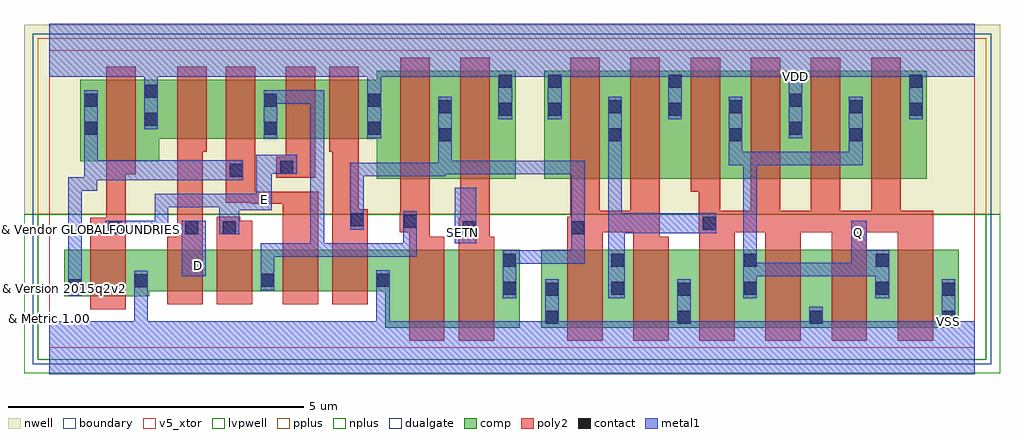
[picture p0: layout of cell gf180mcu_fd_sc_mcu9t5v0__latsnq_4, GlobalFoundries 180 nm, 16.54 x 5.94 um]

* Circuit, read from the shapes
.subckt gf180mcu_fd_sc_mcu9t5v0__latsnq_4 D E Q SETN VDD VSS
XM1 VSS E n1 VSUBS nfet_05v0 w=0.79u l=0.6u
XM2 n2 D VSS VSUBS nfet_05v0 w=0.7u l=0.6u
XM3 n3 E n2 VSUBS nfet_05v0 w=0.7u l=0.6u
XM4 n4 n1 n3 VSUBS nfet_05v0 w=0.7u l=0.6u
XM5 VSS n5 n4 VSUBS nfet_05v0 w=0.7u l=0.6u
XM6 n6 n3 VSS VSUBS nfet_05v0 w=1.32u l=0.6u
XM7 n5 SETN n6 VSUBS nfet_05v0 w=1.32u l=0.6u
XM8 n7 n5 VSS VSUBS nfet_05v0 w=1.32u l=0.6u m=2
XM9 Q n7 VSS VSUBS nfet_05v0 w=1.32u l=0.6u m=4
XM10 VDD E n1 n8 pfet_05v0 w=1.38u l=0.5u
XM11 n9 D VDD n8 pfet_05v0 w=1u l=0.5u
XM12 n3 n1 n9 n8 pfet_05v0 w=1u l=0.5u
XM13 n10 E n3 n8 pfet_05v0 w=1u l=0.5u
XM14 VDD n5 n10 n8 pfet_05v0 w=1u l=0.5u
XM15 n5 n3 VDD n8 pfet_05v0 w=1.83u l=0.5u
XM16 VDD SETN n5 n8 pfet_05v0 w=1.83u l=0.5u
XM17 n7 n5 VDD n8 pfet_05v0 w=1.83u l=0.5u m=2
XM18 Q n7 VDD n8 pfet_05v0 w=1.83u l=0.5u m=4
.ends

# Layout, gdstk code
import gdstk
lib = gdstk.Library(unit=1e-6, precision=1e-09)
def R(c, l, rs):  # rectangles x0, y0, x1, y1
    for r in rs: c.add(gdstk.rectangle(r[:2], r[2:], *l))
def A(c, l, x, y, w, h, nx, ny, dx, dy):  # array of equal rectangles
    R(c, l, [(x+i*dx, y+j*dy, x+i*dx+w, y+j*dy+h) for i in range(nx) for j in range(ny)])
def P(c, l, *ps):  # polygons
    for p in ps: c.add(gdstk.Polygon(p, *l))
boundary = (0, 0)
nwell = (21, 0)
comp = (22, 0)
poly2 = (30, 0)
pplus = (31, 0)
nplus = (32, 0)
contact = (33, 0)
metal1 = (34, 0)
dualgate = (55, 0)
v5_xtor = (112, 1)
lvpwell = (204, 0)

gf180mcu_fd_sc_mcu9t5v0_ = lib.new_cell('gf180mcu_fd_sc_mcu9t5v0__latsnq_4')
R(gf180mcu_fd_sc_mcu9t5v0_, boundary, [(0,0,15.68,5.04)])
R(gf180mcu_fd_sc_mcu9t5v0_, nwell, [(-0.43,2.265,16.11,5.47)])
R(gf180mcu_fd_sc_mcu9t5v0_, comp, [(8.335,0.34,15.415,1.66), (8.385,2.865,14.865,4.695)])
P(gf180mcu_fd_sc_mcu9t5v0_, comp, [(5.545,2.865),(5.545,3.54),(1.865,3.54),(1.865,3.16),(0.525,3.16),(0.525,4.54),(5.545,4.54),(5.545,4.695),(7.905,4.695),(7.905,2.865)],
  [(5.695,0.34),(5.695,0.96),(1.695,0.96),(1.695,0.87),(0.255,0.87),(0.255,1.66),(7.975,1.66),(7.975,0.34)])
P(gf180mcu_fd_sc_mcu9t5v0_, poly2, [(0.695,0.65),(0.695,2.205),(0.965,2.205),(0.965,4.76),(1.465,4.76),(1.465,2.94),(1.295,2.94),(1.295,0.65)],
  [(1.995,0.74),(1.995,1.88),(2.165,1.88),(2.165,4.76),(2.665,4.76),(2.665,3.32),(2.595,3.32),(2.595,0.74)],
  [(2.835,0.74),(2.835,2.215),(3.235,2.215),(3.235,2.155),(3.435,2.155),(3.435,0.74)],
  [(3.845,2.88),(3.845,3.24),(4.005,3.24),(4.005,4.76),(4.505,4.76),(4.505,2.88)],
  [(3.955,0.74),(3.955,2.44),(3.405,2.44),(3.405,2.455),(2.985,2.455),(2.985,4.76),(3.485,4.76),(3.485,2.64),(4.555,2.64),(4.555,0.74)],
  [(4.795,0.74),(4.795,3.32),(4.745,3.32),(4.745,4.76),(5.245,4.76),(5.245,2.35),(5.395,2.35),(5.395,0.74)],
  [(6.095,0.12),(6.095,1.96),(5.935,1.96),(5.935,2.29),(5.945,2.29),(5.945,4.915),(6.445,4.915),(6.445,1.88),(6.695,1.88),(6.695,0.12)],
  [(6.935,0.12),(6.935,2.205),(6.965,2.205),(6.965,4.915),(7.465,4.915),(7.465,1.88),(7.535,1.88),(7.535,0.12)],
  [(8.775,0.12),(8.775,2.215),(8.825,2.215),(8.825,4.915),(9.325,4.915),(9.325,2.32),(9.845,2.32),(9.845,4.915),(10.345,4.915),(10.345,1.88),(10.495,1.88),(10.495,0.12),(9.895,0.12),(9.895,1.96),(9.375,1.96),(9.375,0.12)],
  [(11.015,0.12),(11.015,1.96),(11.005,1.96),(11.005,2.645),(10.865,2.645),(10.865,4.915),(11.365,4.915),(11.365,2.32),(11.885,2.32),(11.885,4.915),(12.385,4.915),(12.385,2.32),(12.905,2.32),(12.905,4.915),(13.405,4.915),(13.405,2.32),(13.925,2.32),(13.925,4.915),(14.425,4.915),(14.425,2.32),(14.975,2.32),(14.975,0.12),(14.375,0.12),(14.375,1.96),(13.855,1.96),(13.855,0.12),(13.255,0.12),(13.255,1.96),(12.735,1.96),(12.735,0.12),(12.135,0.12),(12.135,1.96),(11.615,1.96),(11.615,0.12)])
R(gf180mcu_fd_sc_mcu9t5v0_, pplus, [(-0.2,2.265,15.88,5.24)])
R(gf180mcu_fd_sc_mcu9t5v0_, nplus, [(-0.2,-0.2,15.88,2.265)])
A(gf180mcu_fd_sc_mcu9t5v0_, contact, 8.405, 0.41, 0.22, 0.22, 4, 1, 2.24, 0)
A(gf180mcu_fd_sc_mcu9t5v0_, contact, 9.525, 0.9, 0.22, 0.22, 3, 2, 2.24, 0.47)
A(gf180mcu_fd_sc_mcu9t5v0_, contact, 9.475, 3.5, 0.22, 0.22, 3, 2, 2.04, 0.47)
R(gf180mcu_fd_sc_mcu9t5v0_, contact, [(8.405,0.88,8.625,1.1), (10.645,0.88,10.865,1.1), (15.125,0.88,15.345,1.1), (7.685,0.9,7.905,1.12), (0.325,0.94,0.545,1.16), (1.445,1.025,1.665,1.245), (3.585,1.03,3.805,1.25), (5.545,1.03,5.765,1.25), (7.685,1.37,7.905,1.59), (1.005,1.925,1.225,2.145), (2.305,1.925,2.525,2.145), (2.94,1.925,3.16,2.145), (7.005,1.925,7.225,2.145), (8.845,1.925,9.065,2.145), (11.075,2,11.295,2.22), (6.005,2.03,6.225,2.25), (5.105,2.06,5.325,2.28), (3.055,2.9,3.275,3.12), (3.915,2.95,4.135,3.17), (6.595,3.5,6.815,3.72), (0.595,3.61,0.815,3.83), (3.635,3.61,3.855,3.83), (5.395,3.61,5.615,3.83), (12.535,3.61,12.755,3.83), (1.615,3.765,1.835,3.985), (7.615,3.935,7.835,4.155), (8.455,3.935,8.675,4.155), (10.495,3.935,10.715,4.155), (14.575,3.935,14.795,4.155), (6.595,3.97,6.815,4.19), (0.595,4.08,0.815,4.3), (3.635,4.08,3.855,4.3), (5.395,4.08,5.615,4.3), (12.535,4.08,12.755,4.3), (1.615,4.235,1.835,4.455), (7.615,4.405,7.835,4.625), (8.455,4.405,8.675,4.625), (10.495,4.405,10.715,4.625), (14.575,4.405,14.795,4.625)])
R(gf180mcu_fd_sc_mcu9t5v0_, metal1, [(2.245,1.21,2.65,2.15), (6.87,1.77,7.23,2.71)])
P(gf180mcu_fd_sc_mcu9t5v0_, metal1, [(0.32,0.88),(0.32,2.89),(0.59,2.89),(0.59,4.36),(0.82,4.36),(0.82,3.18),(3.28,3.18),(3.28,2.84),(0.815,2.84),(0.815,2.66),(0.55,2.66),(0.55,0.88)],
  [(0.945,1.92),(0.945,2.15),(1.785,2.15),(1.785,2.61),(3.51,2.61),(3.51,3.27),(4.195,3.27),(4.195,2.945),(3.77,2.945),(3.77,2.33),(3.22,2.33),(3.22,1.92),(2.88,1.92),(2.88,2.38),(2.015,2.38),(2.015,1.92)],
  [(3.58,0.97),(3.58,1.77),(4.425,1.77),(4.425,4.13),(3.86,4.13),(3.86,3.55),(3.63,3.55),(3.63,4.36),(4.655,4.36),(4.655,1.77),(6,1.77),(6,2.31),(6.23,2.31),(6.23,1.54),(3.81,1.54),(3.81,0.97)],
  [(7.68,0.84),(7.68,1.65),(8.84,1.65),(8.84,2.94),(6.715,2.94),(6.715,2.905),(5.33,2.905),(5.33,2),(5.1,2),(5.1,3.135),(6.59,3.135),(6.59,4.25),(6.82,4.25),(6.82,3.17),(9.07,3.17),(9.07,1.42),(7.91,1.42),(7.91,0.84)],
  [(9.47,0.84),(9.47,4.25),(9.7,4.25),(9.7,2.28),(11.3,2.28),(11.3,1.94),(9.75,1.94),(9.75,0.84)],
  [(11.76,0.84),(11.76,3.09),(11.51,3.09),(11.51,4.25),(11.74,4.25),(11.74,3.32),(13.55,3.32),(13.55,4.25),(13.78,4.25),(13.78,3.09),(11.99,3.09),(11.99,1.44),(13.59,1.44),(13.59,2.15),(13.85,2.15),(13.85,1.65),(14.23,1.65),(14.23,0.84),(14,0.84),(14,1.21),(11.99,1.21),(11.99,0.84)],
  [(0,-0.45),(0,0.45),(1.44,0.45),(1.44,1.305),(1.67,1.305),(1.67,0.45),(5.54,0.45),(5.54,1.31),(5.77,1.31),(5.77,0.45),(8.4,0.45),(8.4,1.16),(8.63,1.16),(8.63,0.45),(10.64,0.45),(10.64,1.16),(10.87,1.16),(10.87,0.45),(12.88,0.45),(12.88,0.69),(13.11,0.69),(13.11,0.45),(15.12,0.45),(15.12,1.16),(15.35,1.16),(15.35,0.45),(15.68,0.45),(15.68,-0.45)],
  [(5.39,3.55),(5.39,4.59),(1.84,4.59),(1.84,3.705),(1.61,3.705),(1.61,4.59),(0,4.59),(0,5.49),(15.68,5.49),(15.68,4.59),(14.8,4.59),(14.8,3.875),(14.57,3.875),(14.57,4.59),(12.76,4.59),(12.76,3.55),(12.53,3.55),(12.53,4.59),(10.72,4.59),(10.72,3.875),(10.49,3.875),(10.49,4.59),(8.68,4.59),(8.68,3.875),(8.45,3.875),(8.45,4.59),(7.84,4.59),(7.84,3.875),(7.61,3.875),(7.61,4.59),(5.62,4.59),(5.62,3.55)])
R(gf180mcu_fd_sc_mcu9t5v0_, dualgate, [(-0.28,-0.28,15.96,5.32)])
R(gf180mcu_fd_sc_mcu9t5v0_, v5_xtor, [(0,0,15.68,5.04)])
R(gf180mcu_fd_sc_mcu9t5v0_, lvpwell, [(-0.43,-0.43,16.11,2.265)])
gf180mcu_fd_sc_mcu9t5v0_.add(gdstk.Label('D', (2.52,1.4), layer=34, texttype=10))
gf180mcu_fd_sc_mcu9t5v0_.add(gdstk.Label('E', (3.64,2.52), layer=34, texttype=10))
gf180mcu_fd_sc_mcu9t5v0_.add(gdstk.Label('Q', (13.72,1.96), layer=34, texttype=10))
gf180mcu_fd_sc_mcu9t5v0_.add(gdstk.Label('SETN', (7,1.96), layer=34, texttype=10))
gf180mcu_fd_sc_mcu9t5v0_.add(gdstk.Label('VDD', (12.645,4.59), layer=34, texttype=10))
gf180mcu_fd_sc_mcu9t5v0_.add(gdstk.Label('VSS', (15.235,0.45), layer=34, texttype=10))
gf180mcu_fd_sc_mcu9t5v0_.add(gdstk.Label('& Vendor GLOBALFOUNDRIES', (0,2), layer=63, texttype=63))
gf180mcu_fd_sc_mcu9t5v0_.add(gdstk.Label('& Product GF018hv5v_green_sc9', (0,1.5), layer=63, texttype=63))
gf180mcu_fd_sc_mcu9t5v0_.add(gdstk.Label('& Version 2015q2v2', (0,1), layer=63, texttype=63))
gf180mcu_fd_sc_mcu9t5v0_.add(gdstk.Label('& Metric 1.00', (0,0.5), layer=63, texttype=63))

lib.write_gds('gf180mcu_fd_sc_mcu9t5v0__latsnq_4.gds')
